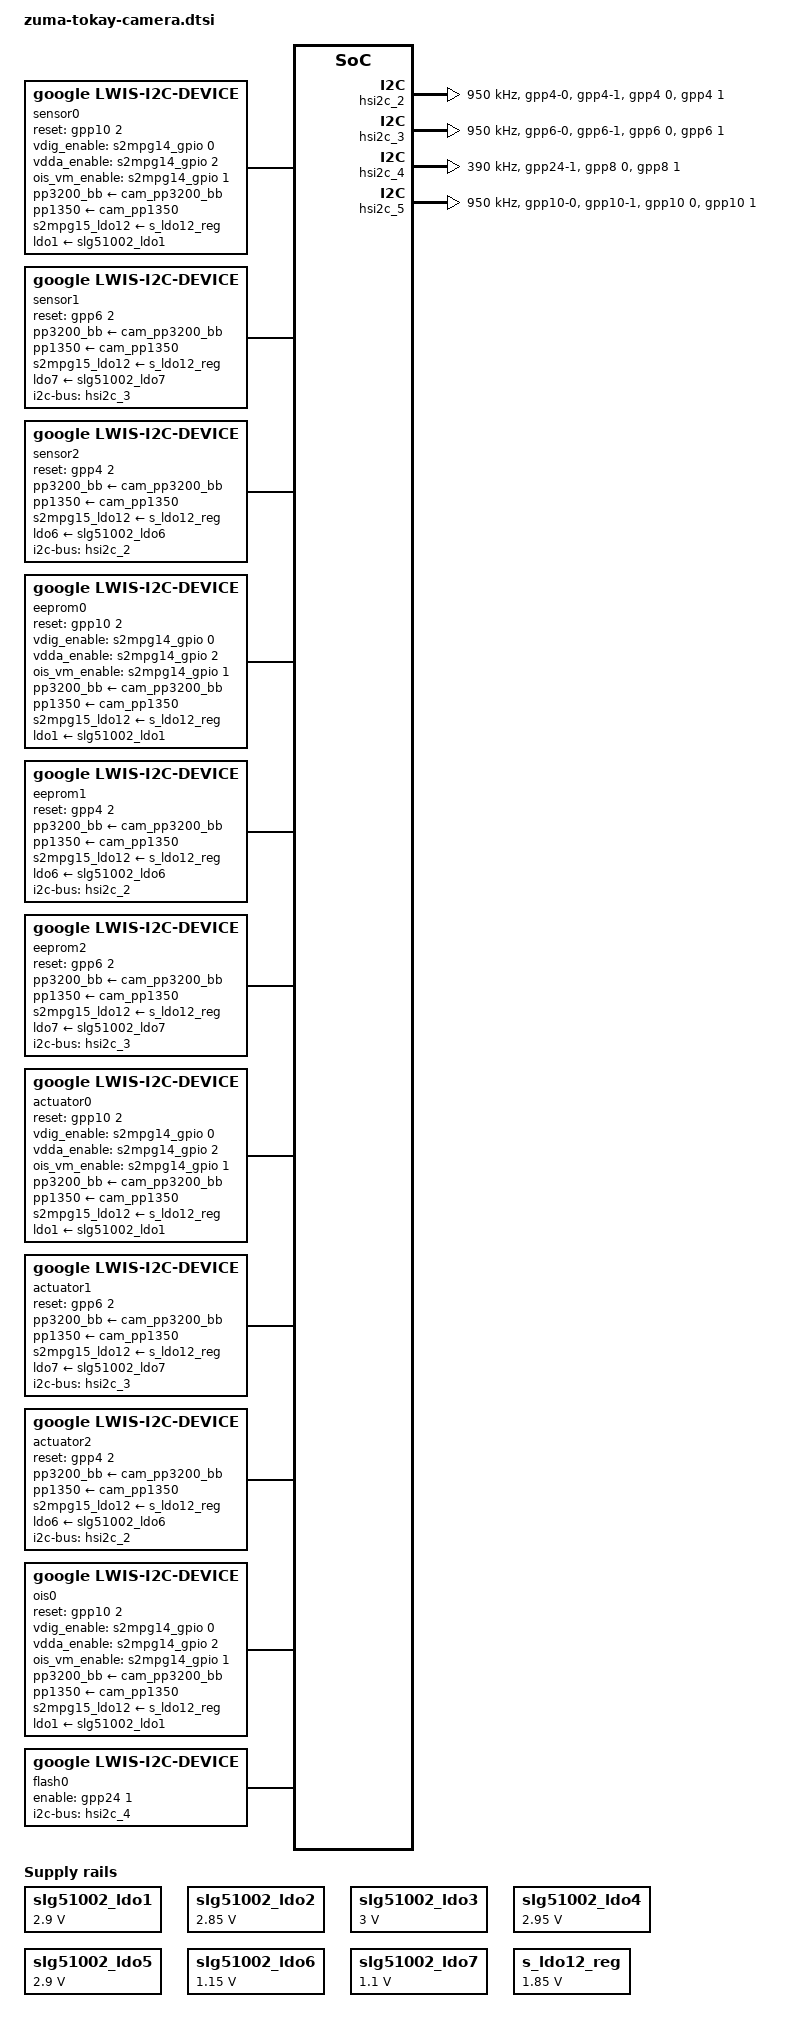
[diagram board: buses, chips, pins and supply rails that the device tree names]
// SPDX-License-Identifier: GPL-2.0-only
/*
 * zuma camera lwis device tree for tokay
 *
 * Copyright 2023 Google LLC.
 *
 */

#include <dt-bindings/clock/zuma.h>
#include <dt-bindings/gpio/gpio.h>
#include <arm64/exynos/exynos-pinctrl.h>

&slg51002_ldo1 {
	regulator-min-microvolt = <2900000>;
	regulator-max-microvolt = <2900000>;
};

/* As defined on OTP */
&slg51002_ldo2 {
	regulator-min-microvolt = <2850000>;
	regulator-max-microvolt = <2850000>;
};

&slg51002_ldo3 {
	regulator-min-microvolt = <3000000>;
	regulator-max-microvolt = <3000000>;
};

&slg51002_ldo4 {
	regulator-min-microvolt = <2950000>;
	regulator-max-microvolt = <2950000>;
};

&slg51002_ldo5 {
	regulator-min-microvolt = <2900000>;
	regulator-max-microvolt = <2900000>;
};

/* As defined on OTP */
&slg51002_ldo6 {
	regulator-min-microvolt = <1150000>;
	regulator-max-microvolt = <1150000>;
};

&slg51002_ldo7 {
	regulator-min-microvolt = <1100000>;
	regulator-max-microvolt = <1100000>;
};

/* slg51002_ldo8 is not used */

&s_ldo12_reg {
	regulator-min-microvolt = <1850000>;
	regulator-max-microvolt = <1850000>;
};


&pinctrl_11 {
	hsi2c2_bus: hsi2c2-bus {
		samsung,pin-pud = <EXYNOS_PIN_PULL_UP>;
	};

	hsi2c2_bus_in: hsi2c2-bus-in {
		samsung,pins = "gpp4-0", "gpp4-1";
		samsung,pin-function = <EXYNOS_PIN_FUNC_INPUT>;
		samsung,pin-pud = <EXYNOS_PIN_PULL_NONE>;
		samsung,pin-drv = <ZUMA_PIN_DRV_X1>;
	};

	hsi2c3_bus: hsi2c3-bus {
		samsung,pin-pud = <EXYNOS_PIN_PULL_UP>;
	};

	hsi2c3_bus_in: hsi2c3-bus-in {
		samsung,pins = "gpp6-0", "gpp6-1";
		samsung,pin-function = <EXYNOS_PIN_FUNC_INPUT>;
		samsung,pin-pud = <EXYNOS_PIN_PULL_NONE>;
		samsung,pin-drv = <ZUMA_PIN_DRV_X1>;
	};

	hsi2c5_bus: hsi2c5-bus {
		samsung,pin-pud = <EXYNOS_PIN_PULL_UP>;
	};

	hsi2c5_bus_in: hsi2c5-bus-in {
		samsung,pins = "gpp10-0", "gpp10-1";
		samsung,pin-function = <EXYNOS_PIN_FUNC_INPUT>;
		samsung,pin-pud = <EXYNOS_PIN_PULL_NONE>;
		samsung,pin-drv = <ZUMA_PIN_DRV_X1>;
	};

	sensor_mclk1_out: sensor-mclk1-out {
		samsung,pin-drv = <ZUMA_PIN_DRV_X3>;
	};
	sensor_mclk1_fn: sensor-mclk1-fn {
		samsung,pin-drv = <ZUMA_PIN_DRV_X3>;
	};
	sensor_mclk2_out: sensor-mclk2-out {
		samsung,pin-drv = <ZUMA_PIN_DRV_X3>;
	};
	sensor_mclk2_fn: sensor-mclk2-fn {
		samsung,pin-drv = <ZUMA_PIN_DRV_X3>;
	};
	sensor_mclk4_out: sensor-mclk4-out {
		samsung,pin-drv = <ZUMA_PIN_DRV_X3>;
	};
	sensor_mclk4_fn: sensor-mclk4-fn {
		samsung,pin-drv = <ZUMA_PIN_DRV_X3>;
	};
};

&pinctrl_12 {
	/* GPP24[1] Flashlight Enable */
	flash_en: flash-en {
		samsung,pins = "gpp24-1";
		samsung,pin-function = <EXYNOS_PIN_FUNC_INPUT>;
		samsung,pin-pud = <EXYNOS_PIN_PULL_NONE>;
		samsung,pin-con-pdn = <EXYNOS_PIN_PDN_PREV>;
		samsung,pin-pud-pdn = <EXYNOS_PIN_PULL_NONE>;
	};
};

&hsi2c_2 {
	#address-cells = <1>;
	#size-cells = <0>;
	gpios = <&gpp4 0 GPIO_ACTIVE_HIGH &gpp4 1 GPIO_ACTIVE_HIGH>;
	status = "okay";
	clock-frequency = <950000>;
	samsung,no_lose_arbitration;
	samsung,reset-before-trans;
	samsung,hybrid-polling-mode;

	pinctrl-names = "default","on_i2c","off_i2c";
	pinctrl-0 = <&hsi2c2_bus_in>;
	pinctrl-1 = <&hsi2c2_bus>;
	pinctrl-2 = <&hsi2c2_bus_in>;
};

&hsi2c_3 {
	#address-cells = <1>;
	#size-cells = <0>;
	gpios = <&gpp6 0 GPIO_ACTIVE_HIGH &gpp6 1 GPIO_ACTIVE_HIGH>;
	status = "okay";
	clock-frequency = <950000>;
	samsung,no_lose_arbitration;
	samsung,reset-before-trans;
	samsung,hybrid-polling-mode;

	pinctrl-names = "default","on_i2c","off_i2c";
	pinctrl-0 = <&hsi2c3_bus_in>;
	pinctrl-1 = <&hsi2c3_bus>;
	pinctrl-2 = <&hsi2c3_bus_in>;
};

&hsi2c_4 {
	#address-cells = <1>;
	#size-cells = <0>;
	gpios = <&gpp8 0 GPIO_ACTIVE_HIGH &gpp8 1 GPIO_ACTIVE_HIGH>;
	status = "okay";
	/* Limit to 390KHz due to bottleneck in flash LED driver. */
	clock-frequency = <390000>;
	samsung,no_lose_arbitration;

	pinctrl-names = "default","on_i2c","off_i2c";
	pinctrl-0 = <&hsi2c4_bus &flash_en>;
	pinctrl-1 = <&hsi2c4_bus>;
	pinctrl-2 = <&hsi2c4_bus>;
};

&hsi2c_5 {
	#address-cells = <1>;
	#size-cells = <0>;
	gpios = <&gpp10 0 GPIO_ACTIVE_HIGH &gpp10 1 GPIO_ACTIVE_HIGH>;
	status = "okay";
	clock-frequency = <950000>;
	samsung,no_lose_arbitration;
	samsung,reset-before-trans;
	samsung,hybrid-polling-mode;
	samsung,trailing-count = <0x20000>;

	pinctrl-names = "default","on_i2c","off_i2c";
	pinctrl-0 = <&hsi2c5_bus_in>;
	pinctrl-1 = <&hsi2c5_bus>;
	pinctrl-2 = <&hsi2c5_bus_in>;
};


/ {
	fragment@lwiscamera {
		target-path = "/";
		__overlay__ {
			/* Power sequence for FRONT CAMERA combo */
			front_camera_power_seq: module_power_seq@0 {
				/* Power supplies will be defined on each module. */
				/* Common supplies */
				/* PP3200_BB_CAM pp3200_bb */
				/* PP1350_CAM    pp1350 */
				/* Sensor */
				/* VDDIO         s5mpg15_ldo12 */
				/* VDIG          ldo7          */
				/* VDDA          ldo3          */
				/* RESET         reset         */
				/* MCLK_ON       mclk_on       */
				/* Actuator */
				/* AF_VM         ldo5          */
				power-up-seqs =
					"pp3200_bb",
					"pp1350",
					"s2mpg15_ldo12",
					"ldo7",
					"ldo3",
					"ldo5",
					"reset",
					"mclk_on";
				power-up-seq-types =
					"regulator",
					"regulator",
					"regulator",
					"regulator",
					"regulator",
					"regulator",
					"gpio",
					"pinctrl";
				power-up-seq-delays-us =
					<0
					 0
					 0
					 0
					 0
					 1000
					 1000
					 8000>;

				power-down-seqs =
					"mclk_off",
					"reset",
					"ldo5",
					"ldo3",
					"ldo7",
					"s2mpg15_ldo12",
					"pp1350",
					"pp3200_bb";
				power-down-seq-types =
					"pinctrl",
					"gpio",
					"regulator",
					"regulator",
					"regulator",
					"regulator",
					"regulator",
					"regulator";
				power-down-seq-delays-us =
					<1000
					 1000
					 0
					 0
					 0
					 0
					 2000
					 2000>;
			};

			/* Power sequence for REAR MAIN CAMERA combo */
			rear_main_camera_power_seq: module_power_seq@1 {
				/* Power supplies will be defined on each module. */
				/* Common supplies */
				/* PP3200_BB_CAM pp3200_bb */
				/* PP1350_CAM    pp1350 */
				/* Sensor */
				/* VDDIO         s2mpg15_ldo12 */
				/* VDIG          vdig_enable */
				/* VDDA          vdda_enable */
				/* RESET         reset */
				/* MCLK_ON       mclk_on */
				/* OIS */
				/* AVDD          ldo1 */
				/* OIS_VM        ois_vm_enable */
				/* Actuator */
				/* AF_VM         ldo4 */
				power-up-seqs =
					"pp3200_bb",
					"pp1350",
					"vdda_enable",
					"vdig_enable",
					"s2mpg15_ldo12",
					"ldo1",
					"ldo4",
					"reset",
					"ois_vm_enable",
					"mclk_on";
				power-up-seq-types =
					"regulator",
					"regulator",
					"gpio",
					"gpio",
					"regulator",
					"regulator",
					"regulator",
					"gpio",
					"gpio",
					"pinctrl";
				power-up-seq-delays-us =
					<0
					 0
					 1000
					 1000
					 1000
					 0
					 0
					 1000
					 0
					 9000>;

				power-down-seqs =
					"mclk_off",
					"ois_vm_enable",
					"reset",
					"ldo4",
					"ldo1",
					"s2mpg15_ldo12",
					"vdig_enable",
					"vdda_enable",
					"pp1350",
					"pp3200_bb";
				power-down-seq-types =
					"pinctrl",
					"gpio",
					"gpio",
					"regulator",
					"regulator",
					"regulator",
					"gpio",
					"gpio",
					"regulator",
					"regulator";
				power-down-seq-delays-us =
					<1000
					 0
					 1000
					 0
					 1000
					 1000
					 1000
					 1000
					 2000
					 2000>;
			};

			/* Power sequence for REAR ULTRA WIDE combo */
			rear_uw_camera_power_seq: module_power_seq@2 {
				/* Power supplies will be defined on each module. */
				/* Common supplies */
				/* PP3200_BB_CAM pp3200_bb */
				/* PP1350_CAM    pp1350 */
				/* Sensor */
				/* VDIG          ldo6 */
				/* VANA          ldo2 */
				/* VIO           s2mpg15_ldo12 */
				/* MCLK_ON       mclk_on */
				/* Actuator  */
				/* AF_VM         ldo4 */
				power-up-seqs =
					"pp3200_bb",
					"pp1350",
					"ldo6",
					"ldo2",
					"s2mpg15_ldo12",
					"ldo4",
					"mclk_on";
				power-up-seq-types =
					"regulator",
					"regulator",
					"regulator",
					"regulator",
					"regulator",
					"regulator",
					"pinctrl";
				power-up-seq-delays-us =
					<0
					 0
					 0
					 0
					 1000
					 0
					 0>;

				power-down-seqs =
					"mclk_off",
					"ldo4",
					"s2mpg15_ldo12",
					"ldo2",
					"ldo6",
					"pp1350",
					"pp3200_bb";
				power-down-seq-types =
					"pinctrl",
					"regulator",
					"regulator",
					"regulator",
					"regulator",
					"regulator",
					"regulator";
				power-down-seq-delays-us =
					<0
					 1000
					 0
					 0
					 0
					 2000
					 2000>;
			};

			/* REAR CAMERA */
			sensor0: sensor@0 {
				compatible = "google,lwis-i2c-device";

				/* Device node name */
				node-name = "sensor-boitata";

				/* I2C */
				i2c-bus = <&hsi2c_5>;
				i2c-addr = <0x3D>;

				/* Registers */
				reg-addr-bitwidth = <16>;
				reg-value-bitwidth = <16>;

				/* GPIOs */
				/* RCAM_RST_L GPP10[2] */
				reset-gpios = <&gpp10 2 GPIO_ACTIVE_HIGH>;
				/* CAM_LVBUCK_EN, RCAM_VANA_EN, RCAM_OIS_VM_EN */
				vdig_enable-gpios = <&s2mpg14_gpio 0 GPIO_ACTIVE_HIGH>;
				vdda_enable-gpios = <&s2mpg14_gpio 2 GPIO_ACTIVE_HIGH>;
				ois_vm_enable-gpios = <&s2mpg14_gpio 1 GPIO_ACTIVE_HIGH>;

				/* Power supplies */
				pp3200_bb-supply = <&cam_pp3200_bb>;
				pp1350-supply = <&cam_pp1350>;
				s2mpg15_ldo12-supply = <&s_ldo12_reg>;
				ldo1-supply = <&slg51002_ldo1>;
				ldo4-supply = <&slg51002_ldo4>;

				clocks =
					<&clock CIS_CLK3>,
					<&clock GATE_DFTMUX_CMU_CIS_CLK3>;
				clock-names =
					"CIS_CLK3",
					"GATE_DFTMUX_CMU_CIS_CLK3";
				clock-rates =
					<26000000>,
					<0>;

				/* MCLK Control */
				pinctrl-names = "mclk_on", "mclk_off";
				pinctrl-0 = <&sensor_mclk4_fn>;
				pinctrl-1 = <&sensor_mclk4_out>;

				/* Power sequence */
				power-seq = <&rear_main_camera_power_seq>;

				/* Thread priority */
				transaction-thread-priority = <99>;

				i2c-lock-group-id = <0>;
				transaction-process-limit = <20>;
			};

			/* FRONT CAMERA */
			sensor1: sensor@1 {
				compatible = "google,lwis-i2c-device";

				/* Device node name */
				node-name = "sensor-dokkaebi";

				/* I2C */
				i2c-bus = <&hsi2c_3>;
				i2c-addr = <0x10>;

				/* Registers */
				reg-addr-bitwidth = <16>;
				reg-value-bitwidth = <16>;

				/* GPIOs */
				/* FCAM_RST_L GPP6[2] */
				reset-gpios = <&gpp6 2 GPIO_ACTIVE_HIGH>;

				/* Power supplies */
				pp3200_bb-supply = <&cam_pp3200_bb>;
				pp1350-supply = <&cam_pp1350>;
				s2mpg15_ldo12-supply = <&s_ldo12_reg>;
				ldo7-supply = <&slg51002_ldo7>;
				ldo3-supply = <&slg51002_ldo3>;
				ldo5-supply = <&slg51002_ldo5>;

				clocks =
					<&clock CIS_CLK1>,
					<&clock GATE_DFTMUX_CMU_CIS_CLK1>;
				clock-names =
					"CIS_CLK1",
					"GATE_DFTMUX_CMU_CIS_CLK1";
				clock-rates =
					<24000000>,
					<0>;

				/* MCLK Control */
				pinctrl-names = "mclk_on", "mclk_off";
				pinctrl-0 = <&sensor_mclk2_fn>;
				pinctrl-1 = <&sensor_mclk2_out>;

				/* Power sequence */
				power-seq = <&front_camera_power_seq>;

				/* Thread priority */
				transaction-thread-priority = <99>;

				i2c-lock-group-id = <3>;
			};

			/* REAR ULTRA WIDE CAMERA */
			sensor2: sensor@2 {
				compatible = "google,lwis-i2c-device";

				/* Device node name */
				node-name = "sensor-taotie-uw";

				/* I2C */
				i2c-bus = <&hsi2c_2>;
				i2c-addr = <0x1A>;

				/* Power up mode */
				lwis,power-up-to-suspend;

				/* Registers */
				reg-addr-bitwidth = <16>;
				reg-value-bitwidth = <8>;

				/* GPIOs */
				/* RUWCAM_RST_L GPP4[2] */
				reset-gpios = <&gpp4 2 GPIO_ACTIVE_HIGH>;

				/* Power supplies */
				pp3200_bb-supply = <&cam_pp3200_bb>;
				pp1350-supply = <&cam_pp1350>;
				s2mpg15_ldo12-supply = <&s_ldo12_reg>;
				ldo6-supply = <&slg51002_ldo6>;
				ldo4-supply = <&slg51002_ldo4>;
				ldo2-supply = <&slg51002_ldo2>;

				clocks =
					<&clock CIS_CLK0>,
					<&clock GATE_DFTMUX_CMU_CIS_CLK0>;
				clock-names =
					"CIS_CLK0",
					"GATE_DFTMUX_CMU_CIS_CLK0";
				clock-rates =
					<24000000>,
					<0>;

				/* MCLK Control */
				pinctrl-names = "mclk_on", "mclk_off";
				pinctrl-0 = <&sensor_mclk1_fn>;
				pinctrl-1 = <&sensor_mclk1_out>;

				/* Power sequence */
				power-seq = <&rear_uw_camera_power_seq>;

				/* resume sequence */
				resume-seqs = "reset";
				resume-seq-types = "gpio";
				/* from XCLR to first i2c */
				resume-seq-delays-us = <5000>;

				/* suspend sequence */
				suspend-seqs = "reset";
				suspend-seq-types = "gpio";
				suspend-seq-delays-us = <0>;

				/* Thread priority */
				transaction-thread-priority = <99>;

				i2c-lock-group-id = <2>;
			};

			/* EEPROM for REAR CAMERA */
			eeprom0: eeprom@0 {
				compatible = "google,lwis-i2c-device";
				/* Device node name */
				node-name = "eeprom-djinn";
				/* I2C */
				i2c-bus = <&hsi2c_5>;
				i2c-addr = <0x24>;
				/* Registers */
				reg-addr-bitwidth = <16>;
				reg-value-bitwidth = <32>;

				/* GPIOs */
				/* RCAM_RST_L GPP10[2] */
				reset-gpios = <&gpp10 2 GPIO_ACTIVE_HIGH>;
				/* CAM_LVBUCK_EN, RCAM_VANA_EN, RCAM_OIS_VM_EN */
				vdig_enable-gpios = <&s2mpg14_gpio 0 GPIO_ACTIVE_HIGH>;
				vdda_enable-gpios = <&s2mpg14_gpio 2 GPIO_ACTIVE_HIGH>;
				ois_vm_enable-gpios = <&s2mpg14_gpio 1 GPIO_ACTIVE_HIGH>;

				/* Power supplies */
				pp3200_bb-supply = <&cam_pp3200_bb>;
				pp1350-supply = <&cam_pp1350>;
				s2mpg15_ldo12-supply = <&s_ldo12_reg>;
				ldo1-supply = <&slg51002_ldo1>;
				ldo4-supply = <&slg51002_ldo4>;

				/* MCLK Control */
				pinctrl-names = "mclk_on", "mclk_off";
				pinctrl-0 = <&sensor_mclk4_fn>;
				pinctrl-1 = <&sensor_mclk4_out>;

				/* Power sequence */
				power-seq = <&rear_main_camera_power_seq>;

				i2c-lock-group-id = <0>;
			};

			/* EEPROM for REAR ULTRAWIDE CAMERA */
			eeprom1: eeprom@1 {
				compatible = "google,lwis-i2c-device";

				/* Device node name */
				node-name = "eeprom-smaug-taotie-uw";

				/* I2C */
				i2c-bus = <&hsi2c_2>;
				i2c-addr = <0x50>;

				/* Registers */
				reg-addr-bitwidth = <16>;
				reg-value-bitwidth = <8>;

				/* GPIOs */
				/* RUWCAM_RST_L GPP4[2] */
				reset-gpios = <&gpp4 2 GPIO_ACTIVE_HIGH>;

				/* Power supplies */
				pp3200_bb-supply = <&cam_pp3200_bb>;
				pp1350-supply = <&cam_pp1350>;
				s2mpg15_ldo12-supply = <&s_ldo12_reg>;
				ldo6-supply = <&slg51002_ldo6>;
				ldo4-supply = <&slg51002_ldo4>;
				ldo2-supply = <&slg51002_ldo2>;

				/* MCLK Control */
				pinctrl-names = "mclk_on", "mclk_off";
				pinctrl-0 = <&sensor_mclk1_fn>;
				pinctrl-1 = <&sensor_mclk1_out>;

				/* Power sequence */
				power-seq = <&rear_uw_camera_power_seq>;

				i2c-lock-group-id = <2>;
			};

			/* EEPROM for FRONT CAMERA */
			eeprom2: eeprom@2 {
				compatible = "google,lwis-i2c-device";

				/* Device node name */
				node-name = "eeprom-smaug-dokkaebi";

				/* I2C */
				i2c-bus = <&hsi2c_3>;
				i2c-addr = <0x51>;

				/* Registers */
				reg-addr-bitwidth = <16>;
				reg-value-bitwidth = <8>;

				/* GPIOs */
				/* FCAM_RST_L GPP6[2] */
				reset-gpios = <&gpp6 2 GPIO_ACTIVE_HIGH>;

				/* Power supplies */
				pp3200_bb-supply = <&cam_pp3200_bb>;
				pp1350-supply = <&cam_pp1350>;
				s2mpg15_ldo12-supply = <&s_ldo12_reg>;
				ldo7-supply = <&slg51002_ldo7>;
				ldo3-supply = <&slg51002_ldo3>;
				ldo5-supply = <&slg51002_ldo5>;

				/* MCLK Control */
				pinctrl-names = "mclk_on", "mclk_off";
				pinctrl-0 = <&sensor_mclk2_fn>;
				pinctrl-1 = <&sensor_mclk2_out>;

				/* Power sequence */
				power-seq = <&front_camera_power_seq>;
			};

			/* Actuator for REAR CAMERA */
			actuator0: actuator@0 {
				compatible = "google,lwis-i2c-device";

				/* Device node name */
				node-name = "act-cornerfolk";

				/* I2C */
				i2c-bus = <&hsi2c_5>;
				i2c-addr = <0xC>;

				/* Registers */
				reg-addr-bitwidth = <8>;
				reg-value-bitwidth = <8>;

				/* GPIOs */
				/* RCAM_RST_L GPP10[2] */
				reset-gpios = <&gpp10 2 GPIO_ACTIVE_HIGH>;
				/* CAM_LVBUCK_EN, RCAM_VANA_EN, RCAM_OIS_VM_EN */
				vdig_enable-gpios = <&s2mpg14_gpio 0 GPIO_ACTIVE_HIGH>;
				vdda_enable-gpios = <&s2mpg14_gpio 2 GPIO_ACTIVE_HIGH>;
				ois_vm_enable-gpios = <&s2mpg14_gpio 1 GPIO_ACTIVE_HIGH>;

				/* Power supplies */
				pp3200_bb-supply = <&cam_pp3200_bb>;
				pp1350-supply = <&cam_pp1350>;
				s2mpg15_ldo12-supply = <&s_ldo12_reg>;
				ldo1-supply = <&slg51002_ldo1>;
				ldo4-supply = <&slg51002_ldo4>;

				/* MCLK Control */
				pinctrl-names = "mclk_on", "mclk_off";
				pinctrl-0 = <&sensor_mclk4_fn>;
				pinctrl-1 = <&sensor_mclk4_out>;

				/* Power sequence */
				power-seq = <&rear_main_camera_power_seq>;

				/* Thread priority */
				transaction-thread-priority = <99>;

				i2c-lock-group-id = <0>;
			};

			/* Actuator for FRONT CAMERA */
			actuator1: actuator@1 {
				compatible = "google,lwis-i2c-device";

				/* Device node name */
				node-name = "act-cornerfolk-dokkaebi";

				/* I2C */
				i2c-bus = <&hsi2c_3>;
				i2c-addr = <0xC>;

				/* Registers */
				reg-addr-bitwidth = <8>;
				reg-value-bitwidth = <8>;

				/* GPIOs */
				/* FCAM_RST_L GPP6[2] */
				reset-gpios = <&gpp6 2 GPIO_ACTIVE_HIGH>;

				/* Power supplies */
				pp3200_bb-supply = <&cam_pp3200_bb>;
				pp1350-supply = <&cam_pp1350>;
				s2mpg15_ldo12-supply = <&s_ldo12_reg>;
				ldo7-supply = <&slg51002_ldo7>;
				ldo3-supply = <&slg51002_ldo3>;
				ldo5-supply = <&slg51002_ldo5>;

				/* MCLK Control */
				pinctrl-names = "mclk_on", "mclk_off";
				pinctrl-0 = <&sensor_mclk2_fn>;
				pinctrl-1 = <&sensor_mclk2_out>;

				/* Power sequence */
				power-seq = <&front_camera_power_seq>;

				/* Thread priority */
				transaction-thread-priority = <99>;
			};

			/* Actuator for REAR ULTRAWIDE CAMERA */
			actuator2: actuator@2 {
				compatible = "google,lwis-i2c-device";

				/* Device node name */
				node-name = "act-cornerfolk-taotie-uw";

				/* I2C */
				i2c-bus = <&hsi2c_2>;
				i2c-addr = <0xF>;

				/* Registers */
				reg-addr-bitwidth = <8>;
				reg-value-bitwidth = <8>;

				/* GPIOs */
				/* RUWCAM_RST_L GPP4[2] */
				reset-gpios = <&gpp4 2 GPIO_ACTIVE_HIGH>;

				/* Power supplies */
				pp3200_bb-supply = <&cam_pp3200_bb>;
				pp1350-supply = <&cam_pp1350>;
				s2mpg15_ldo12-supply = <&s_ldo12_reg>;
				ldo6-supply = <&slg51002_ldo6>;
				ldo4-supply = <&slg51002_ldo4>;
				ldo2-supply = <&slg51002_ldo2>;

				/* MCLK Control */
				pinctrl-names = "mclk_on", "mclk_off";
				pinctrl-0 = <&sensor_mclk1_fn>;
				pinctrl-1 = <&sensor_mclk1_out>;

				/* Power sequence */
				power-seq = <&rear_uw_camera_power_seq>;

				/* Thread priority */
				transaction-thread-priority = <99>;

				i2c-lock-group-id = <2>;
			};

			/* OIS for REAR CAMERA */
			ois0: ois@0 {
				compatible = "google,lwis-i2c-device";

				/* Device node name */
				node-name = "ois-djinn";

				/* I2C */
				i2c-bus = <&hsi2c_5>;
				i2c-addr = <0x24>;

				/* Registers */
				reg-addr-bitwidth = <16>;
				reg-value-bitwidth = <32>;

				/* GPIOs */
				/* RCAM_RST_L GPP10[2] */
				reset-gpios = <&gpp10 2 GPIO_ACTIVE_HIGH>;
				/* CAM_LVBUCK_EN, RCAM_VANA_EN, RCAM_OIS_VM_EN */
				vdig_enable-gpios = <&s2mpg14_gpio 0 GPIO_ACTIVE_HIGH>;
				vdda_enable-gpios = <&s2mpg14_gpio 2 GPIO_ACTIVE_HIGH>;
				ois_vm_enable-gpios = <&s2mpg14_gpio 1 GPIO_ACTIVE_HIGH>;

				/* Power supplies */
				pp3200_bb-supply = <&cam_pp3200_bb>;
				pp1350-supply = <&cam_pp1350>;
				s2mpg15_ldo12-supply = <&s_ldo12_reg>;
				ldo1-supply = <&slg51002_ldo1>;
				ldo4-supply = <&slg51002_ldo4>;

				/* MCLK Control */
				pinctrl-names = "mclk_on", "mclk_off";
				pinctrl-0 = <&sensor_mclk4_fn>;
				pinctrl-1 = <&sensor_mclk4_out>;

				/* Power sequence */
				power-seq = <&rear_main_camera_power_seq>;

				/* Thread priority */
				transaction-thread-priority = <99>;

				i2c-lock-group-id = <0>;
			};

			flash0: flash@0 {
				compatible = "google,lwis-i2c-device";

				/* Device node name */
				node-name = "flash-lm3644";

				/* I2C */
				i2c-bus = <&hsi2c_4>;
				i2c-addr = <0x63>;

				/* Registers */
				reg-addr-bitwidth = <8>;
				reg-value-bitwidth = <8>;

				/* Power Management hibernation (deep sleep) */
				/* 1 : enable, 0 : disable */
				pm-hibernation = <0>;

				/* GPIOs */
				/* FLASH_EN GPP24[1] */
				enable-gpios =
					<&gpp24 1 GPIO_ACTIVE_HIGH>;
			};
		};
	};
};
